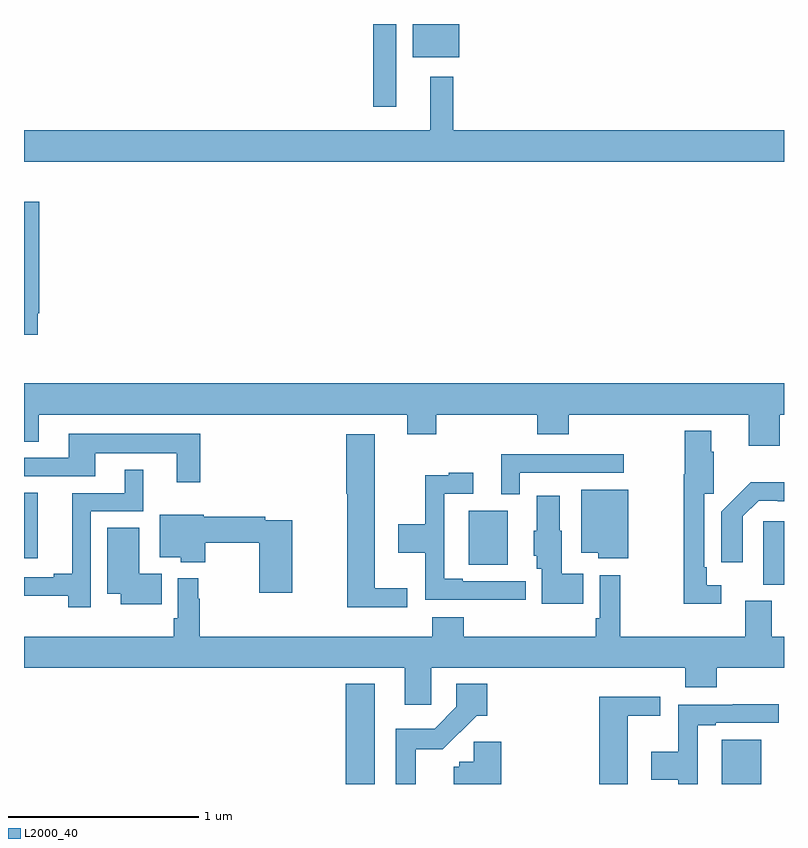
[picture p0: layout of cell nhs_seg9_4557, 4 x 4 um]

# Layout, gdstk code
import gdstk
lib = gdstk.Library(unit=1e-6, precision=1e-09)
def R(c, l, rs):  # rectangles x0, y0, x1, y1
    for r in rs: c.add(gdstk.rectangle(r[:2], r[2:], *l))
def P(c, l, *ps):  # polygons
    for p in ps: c.add(gdstk.Polygon(p, *l))
L2000_40 = (2000, 40)

nhs_seg9_4557 = lib.new_cell('nhs_seg9_4557')
R(nhs_seg9_4557, L2000_40, [(374.693,1170.5,374.845,1171.027), (376.673,1170.5,376.879,1170.733), (376.892,1171.55,377,1171.884), (375.341,1171.655,375.547,1171.939), (373,1171.688,373.072,1172.032), (374.838,1174.065,374.959,1174.5), (375.047,1174.325,375.292,1174.5)])
P(nhs_seg9_4557, L2000_40, [(377,1173.94),(375.259,1173.94),(375.259,1174.222),(375.137,1174.222),(375.137,1173.94),(373,1173.94),(373,1173.776),(377,1173.776)],
  [(373.072,1172.977),(373.079,1172.977),(373.079,1173.565),(373,1173.565),(373,1172.865),(373.072,1172.865)],
  [(376.978,1172.444),(377,1172.444),(377,1172.608),(373,1172.608),(373,1172.302),(373.078,1172.302),(373.078,1172.444),(375.017,1172.444),(375.017,1172.342),(375.17,1172.342),(375.17,1172.444),(375.701,1172.444),(375.701,1172.342),(375.866,1172.342),(375.866,1172.444),(376.814,1172.444),(376.814,1172.28),(376.978,1172.28)],
  [(376.669,1171.545),(376.593,1171.545),(376.593,1171.642),(376.581,1171.642),(376.581,1172.028),(376.631,1172.028),(376.631,1172.249),(376.618,1172.249),(376.618,1172.359),(376.477,1172.359),(376.477,1172.131),(376.473,1172.131),(376.473,1171.448),(376.669,1171.448)],
  [(373.927,1172.344),(373.235,1172.344),(373.235,1172.217),(373,1172.217),(373,1172.121),(373.375,1172.121),(373.375,1172.24),(373.805,1172.24),(373.805,1172.088),(373.927,1172.088)],
  [(375.016,1171.529),(374.845,1171.529),(374.845,1172.341),(374.696,1172.341),(374.696,1172.028),(374.701,1172.028),(374.701,1171.43),(375.016,1171.43)],
  [(375.609,1172.139),(376.156,1172.139),(376.156,1172.235),(375.512,1172.235),(375.512,1172.024),(375.609,1172.024)],
  [(373.35,1171.935),(373.627,1171.935),(373.627,1172.155),(373.529,1172.155),(373.529,1172.031),(373.253,1172.031),(373.253,1171.607),(373.157,1171.607),(373.157,1171.587),(373,1171.587),(373,1171.49),(373.234,1171.49),(373.234,1171.431),(373.35,1171.431)],
  [(375.64,1171.566),(375.31,1171.566),(375.31,1171.579),(375.213,1171.579),(375.213,1172.028),(375.364,1172.028),(375.364,1172.137),(375.236,1172.137),(375.236,1172.126),(375.112,1172.126),(375.112,1171.866),(374.97,1171.866),(374.97,1171.718),(375.112,1171.718),(375.112,1171.47),(375.397,1171.47),(375.397,1171.469),(375.64,1171.469)],
  [(376.782,1171.908),(376.866,1171.992),(376.966,1171.992),(376.966,1171.988),(377,1171.988),(377,1172.089),(376.825,1172.089),(376.744,1172.007),(376.744,1172.006),(376.67,1171.932),(376.67,1171.668),(376.782,1171.668)],
  [(376.18,1172.05),(375.932,1172.05),(375.932,1171.718),(376.022,1171.718),(376.022,1171.688),(376.18,1171.688)],
  [(375.944,1171.606),(375.829,1171.606),(375.829,1171.833),(375.82,1171.833),(375.82,1172.017),(375.698,1172.017),(375.698,1171.833),(375.683,1171.833),(375.683,1171.701),(375.698,1171.701),(375.698,1171.632),(375.725,1171.632),(375.725,1171.448),(375.944,1171.448)],
  [(374.412,1171.887),(374.27,1171.887),(374.27,1171.907),(373.945,1171.907),(373.945,1171.918),(373.715,1171.918),(373.715,1171.694),(373.824,1171.694),(373.824,1171.667),(373.953,1171.667),(373.953,1171.771),(374.239,1171.771),(374.239,1171.506),(374.412,1171.506)],
  [(373.724,1171.606),(373.606,1171.606),(373.606,1171.85),(373.439,1171.85),(373.439,1171.502),(373.508,1171.502),(373.508,1171.445),(373.724,1171.445)],
  [(375.144,1171.112),(376.481,1171.112),(376.481,1171.01),(376.646,1171.01),(376.646,1171.112),(377,1171.112),(377,1171.276),(376.936,1171.276),(376.936,1171.465),(376.796,1171.465),(376.796,1171.276),(376.138,1171.276),(376.138,1171.6),(376.029,1171.6),(376.029,1171.372),(376.009,1171.372),(376.009,1171.276),(375.314,1171.276),(375.314,1171.378),(375.149,1171.378),(375.149,1171.276),(373.925,1171.276),(373.925,1171.475),(373.918,1171.475),(373.918,1171.582),(373.809,1171.582),(373.809,1171.372),(373.789,1171.372),(373.789,1171.276),(373,1171.276),(373,1171.112),(375.005,1171.112),(375.005,1170.918),(375.144,1170.918)],
  [(375.061,1170.683),(375.205,1170.683),(375.383,1170.86),(375.437,1170.86),(375.437,1171.027),(375.276,1171.027),(375.276,1170.906),(375.162,1170.792),(374.957,1170.792),(374.957,1170.5),(375.061,1170.5)],
  [(376.177,1170.86),(376.348,1170.86),(376.348,1170.958),(376.028,1170.958),(376.028,1170.5),(376.177,1170.5)],
  [(376.545,1170.81),(376.642,1170.81),(376.642,1170.822),(376.972,1170.822),(376.972,1170.92),(376.729,1170.92),(376.729,1170.918),(376.444,1170.918),(376.444,1170.67),(376.302,1170.67),(376.302,1170.523),(376.444,1170.523),(376.444,1170.5),(376.545,1170.5)],
  [(375.512,1170.723),(375.367,1170.723),(375.367,1170.618),(375.291,1170.618),(375.291,1170.591),(375.263,1170.591),(375.263,1170.5),(375.512,1170.5)])

lib.write_gds('nhs_seg9_4557.gds')
